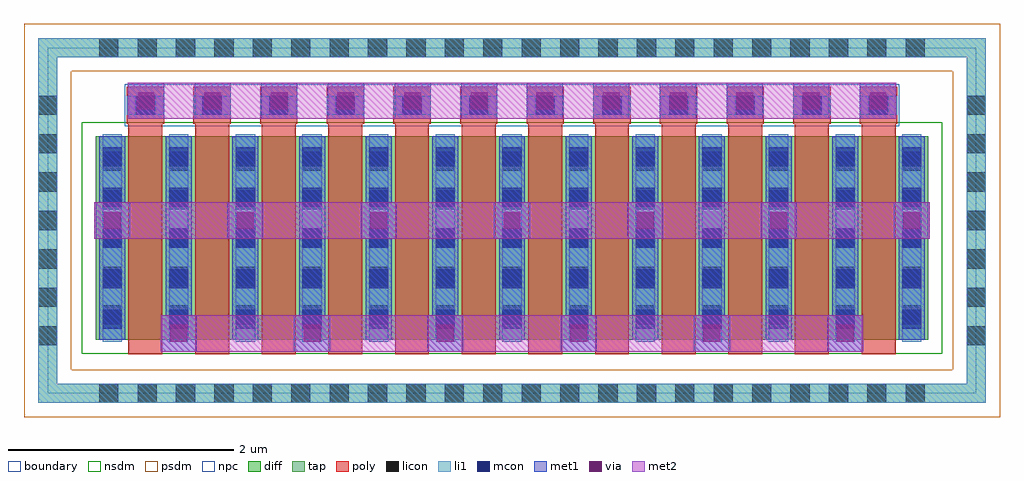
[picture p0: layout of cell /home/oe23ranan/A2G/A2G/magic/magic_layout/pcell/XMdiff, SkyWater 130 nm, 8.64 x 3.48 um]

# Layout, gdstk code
import gdstk
lib = gdstk.Library(unit=1e-6, precision=1e-09)
def R(c, l, rs):  # rectangles x0, y0, x1, y1
    for r in rs: c.add(gdstk.rectangle(r[:2], r[2:], *l))
def A(c, l, x, y, w, h, nx, ny, dx, dy):  # array of equal rectangles
    R(c, l, [(x+i*dx, y+j*dy, x+i*dx+w, y+j*dy+h) for i in range(nx) for j in range(ny)])
diff = (65, 20)
tap = (65, 44)
poly = (66, 20)
licon = (66, 44)
li1 = (67, 20)
mcon = (67, 44)
met1 = (68, 20)
via = (68, 44)
met2 = (69, 20)
nsdm = (93, 44)
psdm = (94, 20)
npc = (95, 20)
boundary = (235, 4)

via_m1_m2_1 = lib.new_cell('via_M1_M2_1')
R(via_m1_m2_1, met1, [(-0.16,-0.16,0.16,0.16)])
R(via_m1_m2_1, via, [(-0.075,-0.075,0.075,0.075)])
R(via_m1_m2_1, met2, [(-0.16,-0.16,0.16,0.16)])

xmdiff_origin = lib.new_cell('XMdiff_origin')
R(xmdiff_origin, diff, [(-3.685,-1.055,3.685,0.745)])
R(xmdiff_origin, tap, [(-4.195,-1.615,4.195,-1.445), (-4.195,-1.445,-4.025,1.445), (4.025,-1.445,4.195,1.445), (-4.195,1.445,4.195,1.615)])
A(xmdiff_origin, poly, -3.395, -1.185, 0.3, 2.04, 12, 1, 0.59, 0)
A(xmdiff_origin, poly, -3.41, 0.855, 0.33, 0.33, 12, 1, 0.59, 0)
A(xmdiff_origin, licon, -3.655, -1.615, 0.17, 0.17, 22, 2, 0.34, 3.06)
A(xmdiff_origin, licon, -4.195, -1.105, 0.17, 0.17, 1, 7, 0, 0.34)
A(xmdiff_origin, licon, 4.025, -1.105, 0.17, 0.17, 1, 7, 0, 0.34)
A(xmdiff_origin, licon, -3.625, -0.92, 0.17, 0.17, 13, 5, 0.59, 0.34)
A(xmdiff_origin, licon, -3.33, 0.935, 0.17, 0.17, 12, 1, 0.59, 0)
A(xmdiff_origin, li1, -3.625, -1.075, 0.17, 1.84, 13, 1, 0.59, 0)
A(xmdiff_origin, li1, -3.41, 0.935, 0.33, 0.17, 12, 1, 0.59, 0)
R(xmdiff_origin, li1, [(-4.195,-1.615,4.195,-1.445), (-4.195,-1.445,-4.025,1.445), (4.025,-1.445,4.195,1.445), (-4.195,1.445,4.195,1.615)])
A(xmdiff_origin, mcon, -3.625, -0.96, 0.17, 0.17, 13, 5, 0.59, 0.36)
A(xmdiff_origin, mcon, -3.33, 0.935, 0.17, 0.17, 12, 1, 0.59, 0)
A(xmdiff_origin, met1, -3.655, -1.055, 0.23, 1.8, 13, 1, 0.59, 0)
A(xmdiff_origin, met1, -3.39, 0.905, 0.29, 0.23, 12, 1, 0.59, 0)
R(xmdiff_origin, nsdm, [(-3.81,-1.18,3.81,0.87)])
R(xmdiff_origin, psdm, [(-4.32,-1.74,4.32,-1.32), (-4.32,-1.32,-3.9,1.32), (3.9,-1.32,4.32,1.32), (-4.32,1.32,4.32,1.74)])
R(xmdiff_origin, npc, [(-3.43,0.835,3.43,1.205)])
R(xmdiff_origin, boundary, [(-4.11,-1.53,4.11,1.53)])
xmdiff_origin.add(gdstk.Label('G', (-3.245,1.02), layer=68, texttype=5))
xmdiff_origin.add(gdstk.Label('G', (-2.655,1.02), layer=68, texttype=5))
xmdiff_origin.add(gdstk.Label('G', (-2.065,1.02), layer=68, texttype=5))
xmdiff_origin.add(gdstk.Label('G', (-1.475,1.02), layer=68, texttype=5))
xmdiff_origin.add(gdstk.Label('G', (-0.885,1.02), layer=68, texttype=5))
xmdiff_origin.add(gdstk.Label('G', (-0.295,1.02), layer=68, texttype=5))
xmdiff_origin.add(gdstk.Label('G', (0.295,1.02), layer=68, texttype=5))
xmdiff_origin.add(gdstk.Label('G', (0.885,1.02), layer=68, texttype=5))
xmdiff_origin.add(gdstk.Label('G', (1.475,1.02), layer=68, texttype=5))
xmdiff_origin.add(gdstk.Label('G', (2.065,1.02), layer=68, texttype=5))
xmdiff_origin.add(gdstk.Label('G', (2.655,1.02), layer=68, texttype=5))
xmdiff_origin.add(gdstk.Label('G', (3.245,1.02), layer=68, texttype=5))
xmdiff_origin.add(gdstk.Label('D', (-3.54,-0.155), layer=68, texttype=5))
xmdiff_origin.add(gdstk.Label('S', (-2.95,-0.155), layer=68, texttype=5))
xmdiff_origin.add(gdstk.Label('D', (-2.36,-0.155), layer=68, texttype=5))
xmdiff_origin.add(gdstk.Label('S', (-1.77,-0.155), layer=68, texttype=5))
xmdiff_origin.add(gdstk.Label('D', (-1.18,-0.155), layer=68, texttype=5))
xmdiff_origin.add(gdstk.Label('S', (-0.59,-0.155), layer=68, texttype=5))
xmdiff_origin.add(gdstk.Label('D', (0,-0.155), layer=68, texttype=5))
xmdiff_origin.add(gdstk.Label('S', (0.59,-0.155), layer=68, texttype=5))
xmdiff_origin.add(gdstk.Label('D', (1.18,-0.155), layer=68, texttype=5))
xmdiff_origin.add(gdstk.Label('S', (1.77,-0.155), layer=68, texttype=5))
xmdiff_origin.add(gdstk.Label('D', (2.36,-0.155), layer=68, texttype=5))
xmdiff_origin.add(gdstk.Label('S', (2.95,-0.155), layer=68, texttype=5))
xmdiff_origin.add(gdstk.Label('D', (3.54,-0.155), layer=68, texttype=5))

c__home_oe23ranan_a2g_a2g_ = lib.new_cell('/home/oe23ranan/A2G/A2G/magic/magic_layout/pcell/XMdiff')
R(c__home_oe23ranan_a2g_a2g_, met2, [(-3.11,-1.16,3.11,-0.84), (-3.7,-0.16,3.7,0.16), (-3.4,0.9,3.4,1.22)])
c__home_oe23ranan_a2g_a2g_.add(gdstk.Reference(via_m1_m2_1, (-3.54,0)))
c__home_oe23ranan_a2g_a2g_.add(gdstk.Reference(via_m1_m2_1, (-2.95,-1)))
c__home_oe23ranan_a2g_a2g_.add(gdstk.Reference(via_m1_m2_1, (-2.36,0)))
c__home_oe23ranan_a2g_a2g_.add(gdstk.Reference(via_m1_m2_1, (-1.77,-1)))
c__home_oe23ranan_a2g_a2g_.add(gdstk.Reference(via_m1_m2_1, (-1.18,0)))
c__home_oe23ranan_a2g_a2g_.add(gdstk.Reference(via_m1_m2_1, (-0.59,-1)))
c__home_oe23ranan_a2g_a2g_.add(gdstk.Reference(via_m1_m2_1, (0,0)))
c__home_oe23ranan_a2g_a2g_.add(gdstk.Reference(via_m1_m2_1, (1.18,0)))
c__home_oe23ranan_a2g_a2g_.add(gdstk.Reference(via_m1_m2_1, (0.59,-1)))
c__home_oe23ranan_a2g_a2g_.add(gdstk.Reference(via_m1_m2_1, (1.77,-1)))
c__home_oe23ranan_a2g_a2g_.add(gdstk.Reference(via_m1_m2_1, (2.36,0)))
c__home_oe23ranan_a2g_a2g_.add(gdstk.Reference(via_m1_m2_1, (2.95,-1)))
c__home_oe23ranan_a2g_a2g_.add(gdstk.Reference(via_m1_m2_1, (3.54,0)))
c__home_oe23ranan_a2g_a2g_.add(gdstk.Reference(via_m1_m2_1, (3.24,1.06)))
c__home_oe23ranan_a2g_a2g_.add(gdstk.Reference(via_m1_m2_1, (2.65,1.06)))
c__home_oe23ranan_a2g_a2g_.add(gdstk.Reference(via_m1_m2_1, (2.06,1.06)))
c__home_oe23ranan_a2g_a2g_.add(gdstk.Reference(via_m1_m2_1, (1.47,1.06)))
c__home_oe23ranan_a2g_a2g_.add(gdstk.Reference(via_m1_m2_1, (0.88,1.06)))
c__home_oe23ranan_a2g_a2g_.add(gdstk.Reference(via_m1_m2_1, (0.29,1.06)))
c__home_oe23ranan_a2g_a2g_.add(gdstk.Reference(via_m1_m2_1, (-0.29,1.06)))
c__home_oe23ranan_a2g_a2g_.add(gdstk.Reference(via_m1_m2_1, (-0.88,1.06)))
c__home_oe23ranan_a2g_a2g_.add(gdstk.Reference(via_m1_m2_1, (-1.47,1.06)))
c__home_oe23ranan_a2g_a2g_.add(gdstk.Reference(via_m1_m2_1, (-2.06,1.06)))
c__home_oe23ranan_a2g_a2g_.add(gdstk.Reference(via_m1_m2_1, (-2.65,1.06)))
c__home_oe23ranan_a2g_a2g_.add(gdstk.Reference(via_m1_m2_1, (-3.24,1.06)))
c__home_oe23ranan_a2g_a2g_.add(gdstk.Reference(xmdiff_origin, (0,0)))

lib.write_gds('_home_oe23ranan_A2G_A2G_magic_magic_layout_pcell_XMdiff.gds')
